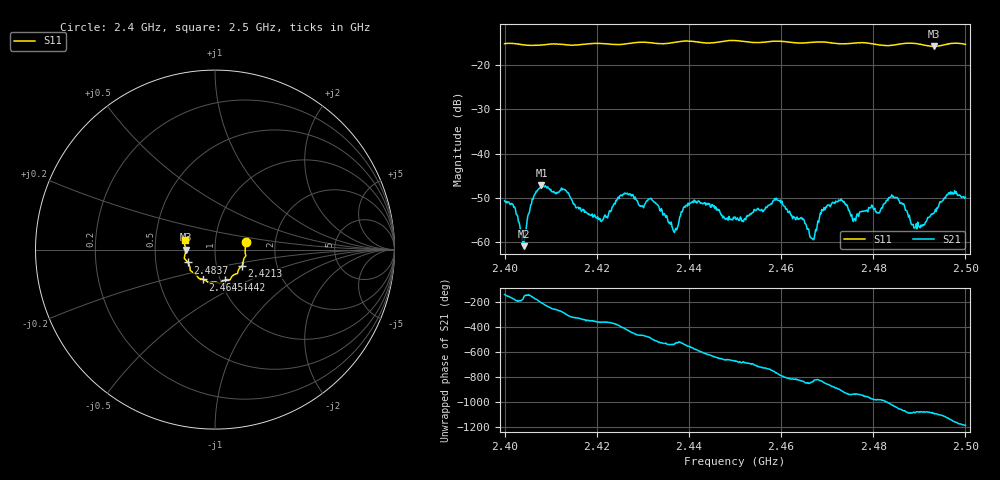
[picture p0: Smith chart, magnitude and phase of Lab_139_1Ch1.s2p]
# Hz S RI R 50
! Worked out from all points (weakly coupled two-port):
!   601 points, 2.4 GHz to 2.5 GHz, reference 50 ohm
!   highest |S21| = -47.12 dB at 2.408 GHz (marker M1); lowest = -60.9 dB at 2.4042 GHz (marker M2)
!   lowest |S11| = -15.7 dB at 2.4932 GHz (marker M3), VSWR 1.39, Z = 35.9 - j0.0505 ohm
!   |S11| at or under -10 dB: start of sweep to end of sweep
!   S12 and S22 are empty: the file has one direction only
!   S11 on the Smith chart (normalised r, x): 2.4 GHz: 1.41, +0.12; 2.4213 GHz: 1.33, -0.25; 2.4442 GHz: 1.05, -0.37; 2.4645 GHz: 0.83, -0.29; 2.4837 GHz: 0.73, -0.11; 2.5 GHz: 0.71, +0.07
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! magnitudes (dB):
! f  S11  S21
! 2.4 GHz  -15.1  -50.7
! 2.4042 GHz  -15.4  -60.9
! 2.4062 GHz  -15.5  -50.3
! 2.408 GHz  -15.4  -47.1
! 2.4167 GHz  -15.3  -53.1
! 2.4213 GHz  -15.1  -54.9
! 2.4262 GHz  -15.2  -49.1
! 2.4333 GHz  -15.1  -51.7
! 2.437 GHz  -14.8  -57.4
! 2.4393 GHz  -14.5  -51.7
! 2.4442 GHz  -15.0  -51.2
! 2.45 GHz  -14.4  -54.3
! 2.4588 GHz  -14.5  -50.5
! 2.4645 GHz  -15.0  -54.5
! 2.4667 GHz  -14.8  -59.2
! 2.4715 GHz  -15.0  -51.2
! 2.4758 GHz  -15.0  -54.7
! 2.4833 GHz  -15.6  -50.0
! 2.4837 GHz  -15.5  -49.9
! 2.489 GHz  -15.1  -56.8
! 2.4932 GHz  -15.7  -53.4
! 2.5 GHz  -15.3  -49.9
